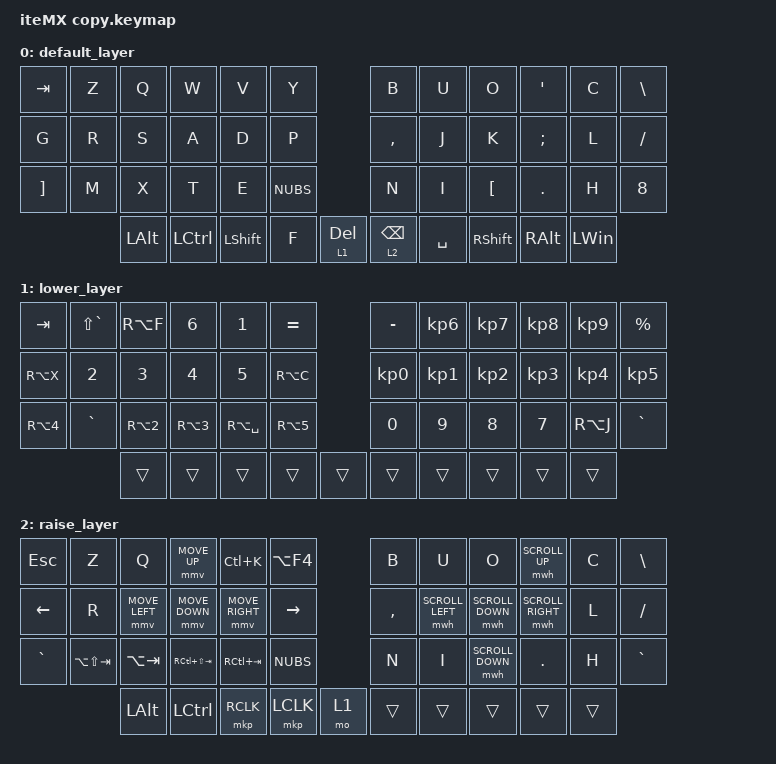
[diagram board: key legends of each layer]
#include <behaviors.dtsi>
#include <dt-bindings/zmk/keys.h>
#include <dt-bindings/zmk/bt.h>
#include "mouse.dtsi"



#define default 0
#define lower   1
#define raise   2

#define COMBO(NAME, TIME, BINDINGS, KEYPOS) \
  combo_##NAME { \
    timeout-ms = <TIME>; \
    bindings = <BINDINGS>; \
    key-positions = <KEYPOS>; \
  };
//         ______________________                   ________________________
//        |0  |1  |2  |3  |4  |5  |                |6  |7  |8  |9  |10 |11 |
//        |12 |13 |14 |15 |16 |17 |                |18 |19 |20 |21 |22 |23 |
//        |24 |25 |26 |27 |28 |29 |___          ___|30 |31 |32 |33 |34 |35 |  
//             ‾‾‾|36 |37 |38 |39 |40 |        |41 |42 |43 |44 |45 |‾‾‾               
//                 ‾‾‾‾‾‾‾‾‾‾‾‾‾‾‾‾‾‾‾          ‾‾‾‾‾‾‾‾‾‾‾‾‾‾‾‾‾‾‾
/ {
        combos {
                compatible = "zmk,combos";

                COMBO(circonflexe, 70, &kp Y, 8 9)
                COMBO(tiret, 70, &kp N8, 7 8)
                COMBO(w, 70, &kp RBKT, 31 32)                

                COMBO(fleche_haut, 50, &kp UP, 3 15)
                COMBO(fleche_bas, 50, &kp DOWN, 15 27)
                COMBO(fleche_gauche, 70, &kp LEFT, 12 13)              
                COMBO(fleche_droite, 50, &kp RIGHT, 16 17)

                COMBO(supr, 50, &kp DEL, 4 16)
                COMBO(retour, 50, &kp BSPC, 18 19)
                COMBO(retour_bis, 50, &kp BSPC, 5 17)
                COMBO(enter_un, 80, &kp ENTER, 13 14 15 16)
                COMBO(enter_two, 80, &kp ENTER, 14 15 16)
                COMBO(esc, 50, &kp ESC, 1 2)
                COMBO(caps_lock, 50, &kp CAPS, 38 43)

                COMBO(ctrl_z, 50, &kp LC(LBKT), 25 26)
                COMBO(ctrl_c, 50, &kp LC(H), 26 27)
                COMBO(ctrl_v, 50, &kp LC(U), 27 28)
                COMBO(ctrl_s, 70, &kp LC(K), 4 5) 

//                COMBO(lower, 100, &mo 1, 40 42)

        };

    keymap {
        compatible = "zmk,keymap";

        default_layer {

            bindings = <
&kp TAB	  &kp Z	     &kp Q	   &kp W	     &kp V     &kp Y                  &kp B	      &kp U	     &kp O	   &kp APOS	 &kp C	&kp BSLH
&kp G	    &kp R	     &kp S	   &kp A	     &kp D	   &kp P                  &kp COMMA   &kp J	     &kp K	   &kp SEMI	 &kp L	&kp SLASH
&kp RBKT  &kp M	     &kp X	   &kp T	     &kp E	   &kp NUBS               &kp N	      &kp I	     &kp LBKT  &kp DOT   &kp H	&kp N8
                     &kp LALT  &kp LCTRL   &kp LSHFT &kp F	 &lt 1 DEL   &lt 2 BSPC  &kp SPACE   &kp RSHFT  &kp RALT	 &kp LWIN
            >;      
        };

		lower_layer {
		
			bindings = <
&kp TAB	    &kp LS(GRAVE) &kp RA(F)	  &kp N6	    &kp N1 	   &kp EQUAL	  &kp MINUS  &kp KP_N6  &kp KP_N7   &kp KP_N8  &kp KP_N9	 &kp PRCNT
&kp RA(X)   &kp N2	      &kp N3	  &kp N4	    &kp N5     &kp RA(C)      &kp KP_N0  &kp KP_N1  &kp KP_N2   &kp KP_N3  &kp KP_N4	 &kp KP_N5
&kp RA(N4)   &kp GRAVE     &kp RA(N2)  &kp RA(N3)   &kp RA(SPACE) &kp RA(N5)      &kp N0	  &kp N9     &kp N8	     &kp N7	    &kp RA(J)   &kp GRAVE
                          &trans      &trans        &trans     &trans  &trans     &trans  &trans     &trans     &trans      &trans
        			>;
	    	};

        raise_layer {

            bindings = <
&kp ESC	  &kp Z	          &kp Q	         &mmv MOVE_UP	     &kp LC(K)          &kp LA(F4)                     &kp B	      &kp U	     &kp O &mwh SCROLL_UP	         &kp C	             &kp BSLH
&kp LEFT	&kp R	          &mmv MOVE_LEFT &mmv MOVE_DOWN    &mmv MOVE_RIGHT  	&kp RIGHT                      &kp COMMA    &mwh SCROLL_LEFT &mwh SCROLL_DOWN	   &mwh SCROLL_RIGHT	 &kp L	&kp SLASH
&kp GRAVE  &kp LA(LS(TAB))	&kp LA(TAB)    &kp RC(LS(TAB))   &kp RC(TAB)	      &kp NUBS                       &kp N	      &kp I	           &mwh SCROLL_DOWN  &kp DOT             &kp H	&kp GRAVE
                          &kp LALT       &kp LCTRL         &mkp RCLK          &mkp LCLK	  &mo 1   &trans  &trans   &trans      &trans	           &trans
            >;      
        };

    };
};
